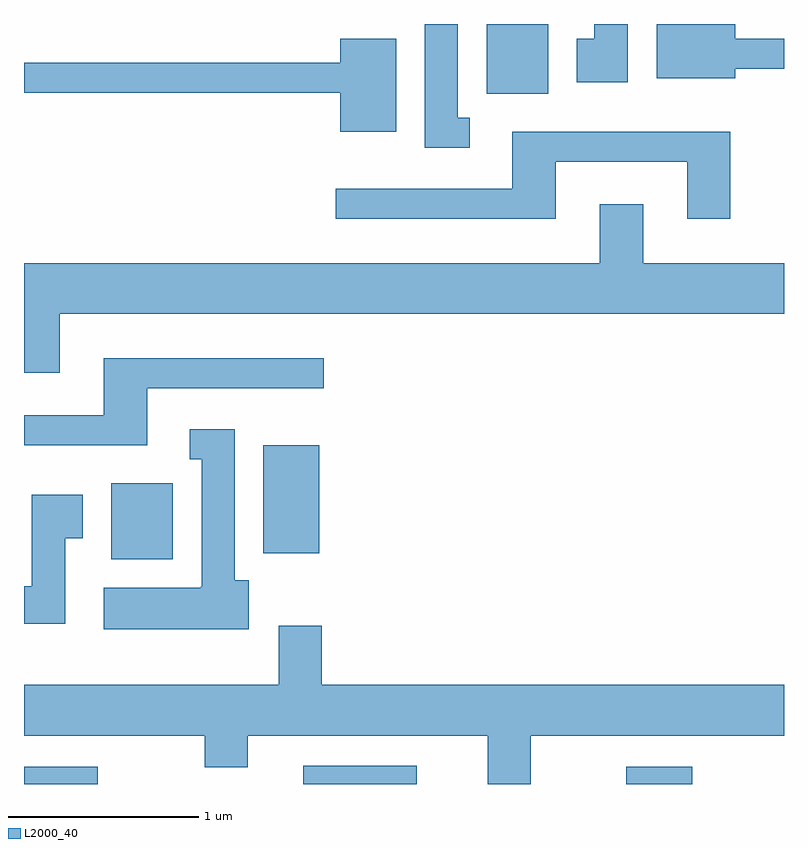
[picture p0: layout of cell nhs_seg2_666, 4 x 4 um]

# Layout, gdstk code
import gdstk
lib = gdstk.Library(unit=1e-6, precision=1e-09)
def R(c, l, rs):  # rectangles x0, y0, x1, y1
    for r in rs: c.add(gdstk.rectangle(r[:2], r[2:], *l))
def P(c, l, *ps):  # polygons
    for p in ps: c.add(gdstk.Polygon(p, *l))
L2000_40 = (2000, 40)

nhs_seg2_666 = lib.new_cell('nhs_seg2_666')
R(nhs_seg2_666, L2000_40, [(203.611,1085.802,203.998,1085.894), (205.081,1085.802,205.678,1085.899), (206.781,1085.802,207.128,1085.894), (204.071,1086.986,204.394,1087.384), (204.871,1087.016,205.164,1087.584), (206.046,1089.436,206.369,1089.802)])
P(nhs_seg2_666, L2000_40, [(206.789,1089.802),(206.611,1089.802),(206.611,1089.724),(206.521,1089.724),(206.521,1089.496),(206.789,1089.496)],
  [(205.958,1089.309),(205.894,1089.309),(205.894,1089.802),(205.721,1089.802),(205.721,1089.151),(205.958,1089.151)],
  [(207.354,1089.566),(207.611,1089.566),(207.611,1089.724),(207.354,1089.724),(207.354,1089.802),(206.941,1089.802),(206.941,1089.516),(207.354,1089.516)],
  [(205.569,1089.724),(205.276,1089.724),(205.276,1089.599),(203.611,1089.599),(203.611,1089.441),(205.276,1089.441),(205.276,1089.236),(205.569,1089.236)],
  [(206.409,1089.076),(207.101,1089.076),(207.101,1088.776),(207.329,1088.776),(207.329,1089.234),(206.181,1089.234),(206.181,1088.934),(205.253,1088.934),(205.253,1088.776),(206.409,1088.776)],
  [(203.799,1088.276),(207.611,1088.276),(207.611,1088.544),(206.869,1088.544),(206.869,1088.854),(206.641,1088.854),(206.641,1088.544),(203.611,1088.544),(203.611,1087.966),(203.799,1087.966)],
  [(204.259,1087.886),(205.188,1087.886),(205.188,1088.044),(204.031,1088.044),(204.031,1087.744),(203.611,1087.744),(203.611,1087.586),(204.259,1087.586)],
  [(204.794,1086.874),(204.719,1086.874),(204.719,1087.669),(204.483,1087.669),(204.483,1087.511),(204.546,1087.511),(204.546,1086.84),(204.54,1086.84),(204.54,1086.834),(204.031,1086.834),(204.031,1086.616),(204.794,1086.616)],
  [(203.829,1087.096),(203.919,1087.096),(203.919,1087.324),(203.651,1087.324),(203.651,1086.844),(203.611,1086.844),(203.611,1086.646),(203.829,1086.646)],
  [(206.279,1086.056),(207.611,1086.056),(207.611,1086.324),(205.179,1086.324),(205.179,1086.634),(204.951,1086.634),(204.951,1086.324),(203.611,1086.324),(203.611,1086.056),(204.561,1086.056),(204.561,1085.891),(204.789,1085.891),(204.789,1086.056),(206.051,1086.056),(206.051,1085.802),(206.279,1085.802)])

lib.write_gds('nhs_seg2_666.gds')
